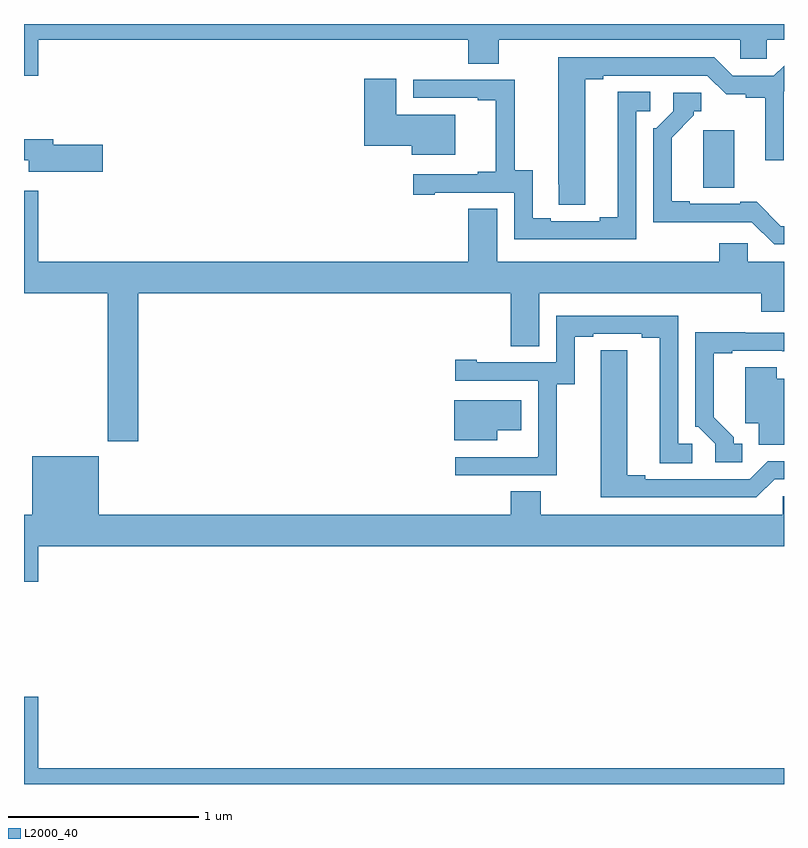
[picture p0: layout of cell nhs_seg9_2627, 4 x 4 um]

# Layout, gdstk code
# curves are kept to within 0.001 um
import gdstk
lib = gdstk.Library(unit=1e-6, precision=1e-09)
def P(c, l, *ps):  # polygons
    for p in ps: c.add(gdstk.Polygon(p, *l))
L2000_40 = (2000, 40)

nhs_seg9_2627 = lib.new_cell('nhs_seg9_2627')
P(nhs_seg9_2627, L2000_40, [(261.076,1200.416),(263.339,1200.416),(263.339,1200.292),(263.499,1200.292),(263.499,1200.416),(264.771,1200.416),(264.771,1200.318),(264.909,1200.318),(264.909,1200.416),(265,1200.416),(265,1200.5),(261,1200.5),(261,1200.228),(261.076,1200.228)],
  [(263.953,1200.208),(264.049,1200.208),(264.049,1200.228),(264.597,1200.228),(264.695,1200.131),(264.798,1200.131),(264.798,1200.112),(264.902,1200.112),(264.902,1199.784),(264.999,1199.784),(265,1200.281),(264.947,1200.228),(264.729,1200.228),(264.633,1200.324),(263.813,1200.324),(263.814,1199.548),(263.953,1199.548)],
  [(263.269,1200.022),(262.96,1200.022),(262.96,1200.211),(262.79,1200.211),(262.79,1199.858),(263.042,1199.858),(263.042,1199.813),(263.269,1199.813)],
  [(264.222,1200.042),(264.295,1200.042),(264.295,1200.143),(264.125,1200.143),(264.125,1199.483),(264.029,1199.483),(264.029,1199.463),(263.773,1199.463),(263.773,1199.478),(263.677,1199.478),(263.677,1199.729),(263.583,1199.729),(263.583,1200.207),(263.049,1200.207),(263.049,1200.111),(263.387,1200.111),(263.387,1200.099),(263.483,1200.099),(263.483,1199.722),(263.387,1199.722),(263.387,1199.709),(263.049,1199.709),(263.049,1199.601),(263.161,1199.601),(263.161,1199.613),(263.58,1199.613),(263.58,1199.367),(264.222,1199.367)],
  [(265,1199.436),(264.984,1199.436),(264.856,1199.564),(264.77,1199.564),(264.77,1199.553),(264.505,1199.553),(264.505,1199.566),(264.409,1199.566),(264.409,1199.902),(264.526,1200.019),(264.526,1200.042),(264.565,1200.042),(264.565,1200.138),(264.417,1200.138),(264.417,1200.042),(264.327,1199.952),(264.312,1199.952),(264.312,1199.456),(264.831,1199.457),(264.948,1199.34),(265,1199.34)],
  [(264.738,1199.796),(264.739,1199.796),(264.739,1199.941),(264.575,1199.941),(264.575,1199.638),(264.738,1199.638)],
  [(261.415,1199.864),(261.154,1199.864),(261.154,1199.893),(261,1199.893),(261,1199.783),(261.026,1199.783),(261.026,1199.722),(261.415,1199.722)],
  [(261.602,1199.084),(263.561,1199.084),(263.561,1198.804),(263.713,1198.804),(263.713,1199.084),(264.881,1199.084),(264.881,1198.986),(265,1198.986),(265,1199.248),(264.81,1199.248),(264.81,1199.346),(264.659,1199.346),(264.659,1199.248),(263.491,1199.248),(263.491,1199.528),(263.339,1199.528),(263.339,1199.248),(261.076,1199.248),(261.076,1199.623),(261,1199.623),(261,1199.084),(261.442,1199.084),(261.442,1198.305),(261.602,1198.305)],
  [(263.805,1198.603),(263.899,1198.603),(263.899,1198.854),(263.995,1198.854),(263.995,1198.869),(264.251,1198.869),(264.251,1198.849),(264.347,1198.849),(264.347,1198.189),(264.517,1198.189),(264.517,1198.29),(264.444,1198.29),(264.444,1198.965),(263.802,1198.965),(263.802,1198.719),(263.383,1198.719),(263.383,1198.732),(263.271,1198.732),(263.271,1198.623),(263.706,1198.623),(263.706,1198.222),(263.705,1198.222),(263.705,1198.221),(263.271,1198.221),(263.271,1198.125),(263.805,1198.125)],
  [(264.781,1198.29),(264.736,1198.29),(264.736,1198.325),(264.631,1198.43),(264.631,1198.767),(264.727,1198.767),(264.727,1198.779),(265,1198.778),(265,1198.875),(264.797,1198.875),(264.797,1198.877),(264.534,1198.877),(264.534,1198.38),(264.549,1198.38),(264.639,1198.29),(264.639,1198.194),(264.781,1198.194)],
  [(264.951,1198.104),(265,1198.104),(265,1198.2),(264.915,1198.2),(264.819,1198.104),(264.271,1198.104),(264.271,1198.124),(264.175,1198.124),(264.175,1198.784),(264.036,1198.784),(264.035,1198.008),(264.855,1198.008)],
  [(265,1198.633),(264.961,1198.633),(264.961,1198.694),(264.797,1198.694),(264.797,1198.4),(264.866,1198.4),(264.866,1198.285),(265,1198.285)],
  [(263.491,1198.361),(263.617,1198.361),(263.617,1198.519),(263.264,1198.519),(263.264,1198.31),(263.491,1198.31)],
  [(261.076,1197.752),(265,1197.752),(265,1198.014),(264.993,1198.014),(264.993,1197.916),(263.721,1197.916),(263.721,1198.04),(263.561,1198.04),(263.561,1197.916),(261.394,1197.916),(261.394,1198.225),(261.044,1198.225),(261.044,1197.916),(261,1197.916),(261,1197.564),(261.076,1197.564)],
  [(265,1196.584),(261.076,1196.584),(261.076,1196.959),(261,1196.959),(261,1196.5),(265,1196.5)])

lib.write_gds('nhs_seg9_2627.gds')
